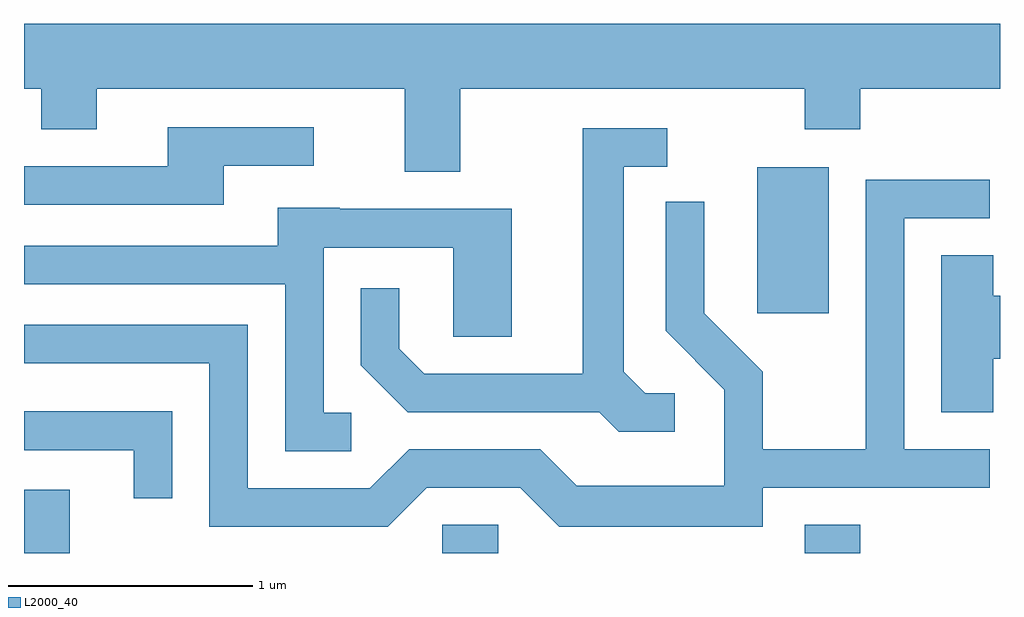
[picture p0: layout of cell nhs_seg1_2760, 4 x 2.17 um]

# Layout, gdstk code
import gdstk
lib = gdstk.Library(unit=1e-6, precision=1e-09)
def R(c, l, rs):  # rectangles x0, y0, x1, y1
    for r in rs: c.add(gdstk.rectangle(r[:2], r[2:], *l))
def P(c, l, *ps):  # polygons
    for p in ps: c.add(gdstk.Polygon(p, *l))
L2000_40 = (2000, 40)

nhs_seg1_2760 = lib.new_cell('nhs_seg1_2760')
R(nhs_seg1_2760, L2000_40, [(269.611,857.712,269.799,857.974), (271.326,857.712,271.554,857.829), (272.811,857.712,273.039,857.829), (272.616,858.696,272.909,859.294)])
P(nhs_seg1_2760, L2000_40, [(271.399,859.616),(272.811,859.616),(272.811,859.451),(273.039,859.451),(273.039,859.616),(273.611,859.616),(273.611,859.884),(269.611,859.884),(269.611,859.616),(269.681,859.616),(269.681,859.451),(269.909,859.451),(269.909,859.616),(271.171,859.616),(271.171,859.276),(271.399,859.276)],
  [(270.429,859.301),(270.798,859.301),(270.798,859.459),(270.201,859.459),(270.201,859.299),(269.611,859.299),(269.611,859.141),(270.429,859.141)],
  [(272.278,858.369),(272.157,858.369),(272.069,858.457),(272.069,859.296),(272.248,859.296),(272.248,859.454),(271.901,859.454),(271.901,858.449),(271.252,858.449),(271.149,858.552),(271.149,858.798),(270.991,858.798),(270.991,858.484),(271.184,858.291),(271.969,858.291),(272.049,858.211),(272.278,858.211)],
  [(271.262,857.981),(271.644,857.981),(271.804,857.821),(272.639,857.821),(272.639,857.981),(273.568,857.981),(273.568,858.139),(273.219,858.139),(273.219,859.086),(273.568,859.086),(273.568,859.244),(273.061,859.244),(273.061,858.139),(272.639,858.139),(272.639,858.457),(272.399,858.697),(272.399,859.153),(272.241,859.153),(272.241,858.624),(272.481,858.384),(272.481,857.989),(271.877,857.989),(271.727,858.139),(271.189,858.139),(271.029,857.979),(270.529,857.979),(270.529,858.649),(269.611,858.649),(269.611,858.491),(270.371,858.491),(270.371,857.821),(271.102,857.821)],
  [(270.953,858.289),(270.839,858.289),(270.839,858.966),(271.371,858.966),(271.371,858.601),(271.609,858.601),(271.609,859.124),(270.905,859.124),(270.905,859.129),(270.651,859.129),(270.651,858.974),(269.611,858.974),(269.611,858.816),(270.681,858.816),(270.681,858.131),(270.953,858.131)],
  [(273.584,858.511),(273.611,858.511),(273.611,858.769),(273.584,858.769),(273.584,858.934),(273.371,858.934),(273.371,858.291),(273.584,858.291)],
  [(270.219,858.294),(269.611,858.294),(269.611,858.136),(270.061,858.136),(270.061,857.938),(270.219,857.938)])

lib.write_gds('nhs_seg1_2760.gds')
